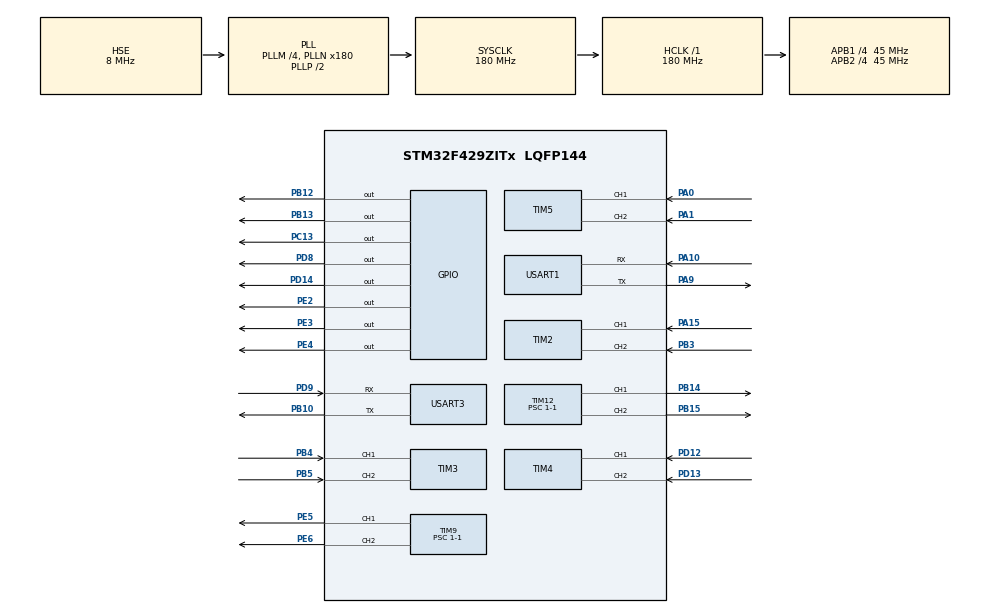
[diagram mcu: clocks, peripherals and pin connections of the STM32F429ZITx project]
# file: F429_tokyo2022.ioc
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Dma.Request0=USART3_RX
Dma.Request1=USART3_TX
Dma.USART3_RX.0.Direction=DMA_PERIPH_TO_MEMORY
Dma.USART3_RX.0.FIFOMode=DMA_FIFOMODE_DISABLE
Dma.USART3_RX.0.Instance=DMA1_Stream1
Dma.USART3_RX.0.MemDataAlignment=DMA_MDATAALIGN_BYTE
Dma.USART3_RX.0.MemInc=DMA_MINC_ENABLE
Dma.USART3_RX.0.Mode=DMA_NORMAL
Dma.USART3_RX.0.PeriphDataAlignment=DMA_PDATAALIGN_BYTE
Dma.USART3_RX.0.PeriphInc=DMA_PINC_DISABLE
Dma.USART3_RX.0.Priority=DMA_PRIORITY_HIGH
Dma.USART3_TX.1.Direction=DMA_MEMORY_TO_PERIPH
Dma.USART3_TX.1.FIFOMode=DMA_FIFOMODE_DISABLE
Dma.USART3_TX.1.Instance=DMA1_Stream3
Dma.USART3_TX.1.MemDataAlignment=DMA_MDATAALIGN_BYTE
Dma.USART3_TX.1.MemInc=DMA_MINC_ENABLE
Dma.USART3_TX.1.Mode=DMA_NORMAL
Dma.USART3_TX.1.PeriphDataAlignment=DMA_PDATAALIGN_BYTE
Dma.USART3_TX.1.PeriphInc=DMA_PINC_DISABLE
Dma.USART3_TX.1.Priority=DMA_PRIORITY_HIGH
Mcu.Family=STM32F4
Mcu.Name=STM32F429ZITx
Mcu.Package=LQFP144
NVIC.DMA1_Stream1_IRQn=true\:0\:0\:false\:false\:true\:false\:true\:true
NVIC.DMA1_Stream3_IRQn=true\:0\:0\:false\:false\:true\:false\:true\:true
NVIC.PriorityGroup=NVIC_PRIORITYGROUP_4
NVIC.TIM6_DAC_IRQn=true\:0\:0\:false\:false\:true\:true\:true\:true
NVIC.TIM7_IRQn=true\:0\:0\:false\:false\:true\:true\:true\:true
NVIC.USART3_IRQn=true\:0\:0\:false\:false\:true\:true\:true\:true
PA0/WKUP.Signal=S_TIM5_CH1
PA1.Signal=S_TIM5_CH2
PA10.Mode=Asynchronous
PA10.Signal=USART1_RX
PA13.Mode=Serial_Wire
PA13.Signal=SYS_JTMS-SWDIO
PA14.Mode=Serial_Wire
PA14.Signal=SYS_JTCK-SWCLK
PA15.Signal=S_TIM2_CH1_ETR
PA9.Mode=Asynchronous
PA9.Signal=USART1_TX
PB10.Mode=Asynchronous
PB10.Signal=USART3_TX
PB12.Signal=GPIO_Output
PB13.Signal=GPIO_Output
PB14.Signal=S_TIM12_CH1
PB15.Signal=S_TIM12_CH2
PB3.Signal=S_TIM2_CH2
PB4.Signal=S_TIM3_CH1
PB5.Signal=S_TIM3_CH2
PC13.Signal=GPIO_Output
PC14/OSC32_IN.Mode=LSE-External-Oscillator
PC14/OSC32_IN.Signal=RCC_OSC32_IN
PC15/OSC32_OUT.Mode=LSE-External-Oscillator
PC15/OSC32_OUT.Signal=RCC_OSC32_OUT
PD12.Signal=S_TIM4_CH1
PD13.Signal=S_TIM4_CH2
PD14.Signal=GPIO_Output
PD8.Signal=GPIO_Output
PD9.Mode=Asynchronous
PD9.Signal=USART3_RX
PE2.Signal=GPIO_Output
PE3.Signal=GPIO_Output
PE4.Signal=GPIO_Output
PE5.Signal=S_TIM9_CH1
PE6.Signal=S_TIM9_CH2
PH0/OSC_IN.Mode=HSE-External-Oscillator
PH0/OSC_IN.Signal=RCC_OSC_IN
PH1/OSC_OUT.Mode=HSE-External-Oscillator
PH1/OSC_OUT.Signal=RCC_OSC_OUT
ProjectManager.HeapSize=0x200
ProjectManager.StackSize=0x400
ProjectManager.TargetToolchain=STM32CubeIDE
RCC.48MHZClocksFreq_Value=90000000
RCC.AHBFreq_Value=180000000
RCC.APB1CLKDivider=RCC_HCLK_DIV4
RCC.APB1Freq_Value=45000000
RCC.APB1TimFreq_Value=90000000
RCC.APB2CLKDivider=RCC_HCLK_DIV4
RCC.APB2Freq_Value=45000000
RCC.APB2TimFreq_Value=90000000
RCC.CortexFreq_Value=180000000
RCC.EnbaleCSS=true
RCC.HCLKFreq_Value=180000000
RCC.HSE_VALUE=8000000
RCC.HSI_VALUE=16000000
RCC.PLLM=4
RCC.PLLN=180
RCC.PLLSourceVirtual=RCC_PLLSOURCE_HSE
RCC.SYSCLKFreq_VALUE=180000000
RCC.SYSCLKSource=RCC_SYSCLKSOURCE_PLLCLK
RCC.VCOOutputFreq_Value=360000000
SH.S_TIM12_CH1.0=TIM12_CH1,PWM Generation1 CH1
SH.S_TIM12_CH2.0=TIM12_CH2,PWM Generation2 CH2
SH.S_TIM2_CH1_ETR.0=TIM2_CH1,Encoder_Interface
SH.S_TIM2_CH2.0=TIM2_CH2,Encoder_Interface
SH.S_TIM3_CH1.0=TIM3_CH1,Encoder_Interface
SH.S_TIM3_CH2.0=TIM3_CH2,Encoder_Interface
SH.S_TIM4_CH1.0=TIM4_CH1,Encoder_Interface
SH.S_TIM4_CH2.0=TIM4_CH2,Encoder_Interface
SH.S_TIM5_CH1.0=TIM5_CH1,Encoder_Interface
SH.S_TIM5_CH2.0=TIM5_CH2,Encoder_Interface
SH.S_TIM9_CH1.0=TIM9_CH1,PWM Generation1 CH1
SH.S_TIM9_CH2.0=TIM9_CH2,PWM Generation2 CH2
TIM12.Channel-PWM\ Generation1\ CH1=TIM_CHANNEL_1
TIM12.Channel-PWM\ Generation2\ CH2=TIM_CHANNEL_2
TIM12.Period=4500-1
TIM12.Prescaler=1-1
TIM2.EncoderMode=TIM_ENCODERMODE_TI12
TIM3.EncoderMode=TIM_ENCODERMODE_TI12
TIM4.EncoderMode=TIM_ENCODERMODE_TI12
TIM5.EncoderMode=TIM_ENCODERMODE_TI12
TIM6.Period=10000-1
TIM6.Prescaler=90-1
TIM7.Period=1000-1
TIM7.Prescaler=90-1
TIM9.Channel-PWM\ Generation1\ CH1=TIM_CHANNEL_1
TIM9.Channel-PWM\ Generation2\ CH2=TIM_CHANNEL_2
TIM9.Period=4500-1
TIM9.Prescaler=1-1
USART1.VirtualMode=VM_ASYNC
USART3.VirtualMode=VM_ASYNC
VP_TIM12_VS_ClockSourceINT.Mode=Internal
VP_TIM6_VS_ClockSourceINT.Mode=Enable_Timer
VP_TIM7_VS_ClockSourceINT.Mode=Enable_Timer
VP_TIM9_VS_ClockSourceINT.Mode=Internal
board=custom

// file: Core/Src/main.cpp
/* USER CODE BEGIN Header */
/**
  ******************************************************************************
  * @file           : main.c
  * @brief          : Main program body
  * @project		: F429_tokyo2022
  ******************************************************************************
  * @attention
  *
  * Copyright (c) 2022 STMicroelectronics.
  * All rights reserved.
  *
  * This software is licensed under terms that can be found in the LICENSE file
  * in the root directory of this software component.
  * If no LICENSE file comes with this software, it is provided AS-IS.
  *
  ******************************************************************************
  */
/* USER CODE END Header */
#include "main.h"
#include "dma.h"
#include "tim.h"
#include "usart.h"
#include "gpio.h"

/* USER CODE BEGIN Includes */
#include <main.hpp>
#include <robot.h>
#include <rosserial.h>
/* USER CODE END Includes */

/* USER CODE BEGIN PV */
Robot robot;
Speed received_vel;
Speed odom_vel;
Pose odom_pose;
double target_wheel_w[4] = {0};
double LPF_output[4] = {0};
int32_t CNT_diff[4] = {0};
double OMEGA[4] = {0};
double duty[4] = {0};
/*for encoder test to get PID value*/
//double omega[1000];
//int x = 0;
/* USER CODE END PV */

void SystemClock_Config(void);

/* USER CODE BEGIN 0 */
void motor_PID_test(int motor){
	robot.pid[motor].setSetpoint(target_wheel_w[motor]);	//set PID target
	CNT_diff[motor] = robot.encoder_[motor].readDelta();	//read encoder counter difference
	OMEGA[motor] = robot.diff_to_omega(CNT_diff[motor]);	//from counter difference to omega
	robot.pid[motor].setFeedback(OMEGA[motor]);				//set PID feedback
	duty[motor] = robot.pid[motor].clacOutput();			//calculate duty cycle
	robot.motor_[motor].writeDuty(duty[motor]);				//write duty cycle to VNH5019
}

void robot_state_init(){
	received_vel.vx = 0;
	received_vel.vy = 0;
	received_vel.w  = 0;
	odom_vel.vx = 0;
	odom_vel.vy = 0;
	odom_vel.w	= 0;
	odom_pose.x = 0;
	odom_pose.y = 0;
	odom_pose.theta = 0;
}

void update_odom_vel(){
	odom_vel.vx = robot.kn_.robot_speed.vx_;
	odom_vel.vy = robot.kn_.robot_speed.vy_;
	odom_vel.w  = robot.kn_.robot_speed.w_;
}

void update_odom_pose(){
	double dx = robot.kn_.robot_speed.vx_ * 0.001;
	double dy = robot.kn_.robot_speed.vy_ * 0.001;
	double dw = robot.kn_.robot_speed.w_  * 0.001;

	odom_pose.x += (dx * cos(odom_pose.theta) - dy * sin(odom_pose.theta));
	odom_pose.y += (dx * sin(odom_pose.theta) + dy * cos(odom_pose.theta));
	odom_pose.theta += dw;
}
void HAL_TIM_PeriodElapsedCallback(TIM_HandleTypeDef *htim) {
	if (htim == &htim7) {	/* HIGH FREQ EVENT : 1kHz*/
		robot.kn_.inverseKinematic(received_vel.vx, received_vel.vy, received_vel.w); //from target robot speed to 4 wheel's omega
		for (int i = 0; i < 4; i++){
			target_wheel_w[i] = robot.kn_.wheel_speed_[i]; 			//get target wheel speed
//			LPF_output[i] = robot.LPF_.update(target_wheel_w[i]);	//Low Pass Filter
			robot.pid[i].setSetpoint(target_wheel_w[i]); 			//set PID target
			CNT_diff[i] = robot.encoder_[i].readDelta();			//read encoder counter difference
			OMEGA[i] = robot.diff_to_omega(CNT_diff[i]);			//from counter difference to omega
			robot.pid[i].setFeedback(OMEGA[i]);						//set PID feedback
			duty[i] = robot.pid[i].clacOutput();					//calculate duty cycle
			robot.motor_[i].writeDuty(duty[i]);						//write duty cycle to VNH
		}
		robot.kn_.forwardKinematic(OMEGA[0], OMEGA[1], OMEGA[2], OMEGA[3]);
		update_odom_vel();
//		update_odom_pose();
	}
	else if(htim == &htim6){	/* odometry publish FREQ : 100Hz*/
		odom_store();
		odom_publish();
	}
}
/* USER CODE END 0 */

int main(void)
{

  /* MCU Configuration--------------------------------------------------------*/

  /* Reset of all peripherals, Initializes the Flash interface and the Systick. */
  HAL_Init();

  /* USER CODE BEGIN Init */
  robot_state_init(); //********* can use for manual test with setting constant speed **********
  /* USER CODE END Init */

  /* Configure the system clock */
  SystemClock_Config();

  /* Initialize all configured peripherals */
  MX_GPIO_Init();
  MX_DMA_Init();
  MX_TIM12_Init();
  MX_TIM9_Init();
  MX_TIM2_Init();
  MX_TIM3_Init();
  MX_TIM4_Init();
  MX_TIM5_Init();
  MX_TIM7_Init();
  MX_USART3_UART_Init();
  MX_TIM6_Init();
  MX_USART1_UART_Init();

  /* Infinite loop */
  /* USER CODE BEGIN WHILE */
  robot.init();
  rosserial_setup();
   while (1)
  {
    /* USER CODE END WHILE */

    /* USER CODE BEGIN 3 */
	   // UART test:
//	   uint8_t num = 10;
//	   HAL_UART_Transmit(&huart1, &num, 1, 2);
  }
  /* USER CODE END 3 */
}

void SystemClock_Config(void)
{
  RCC_OscInitTypeDef RCC_OscInitStruct = {0};
  RCC_ClkInitTypeDef RCC_ClkInitStruct = {0};

  /** Configure the main internal regulator output voltage
  */
  __HAL_RCC_PWR_CLK_ENABLE();
  __HAL_PWR_VOLTAGESCALING_CONFIG(PWR_REGULATOR_VOLTAGE_SCALE1);

  /** Initializes the RCC Oscillators according to the specified parameters
  * in the RCC_OscInitTypeDef structure.
  */
  RCC_OscInitStruct.OscillatorType = RCC_OSCILLATORTYPE_HSE;
  RCC_OscInitStruct.HSEState = RCC_HSE_ON;
  RCC_OscInitStruct.PLL.PLLState = RCC_PLL_ON;
  RCC_OscInitStruct.PLL.PLLSource = RCC_PLLSOURCE_HSE;
  RCC_OscInitStruct.PLL.PLLM = 4;
  RCC_OscInitStruct.PLL.PLLN = 180;
  RCC_OscInitStruct.PLL.PLLP = RCC_PLLP_DIV2;
  RCC_OscInitStruct.PLL.PLLQ = 4;
  if (HAL_RCC_OscConfig(&RCC_OscInitStruct) != HAL_OK)
  {
    Error_Handler();
  }

  /** Activate the Over-Drive mode
  */
  if (HAL_PWREx_EnableOverDrive() != HAL_OK)
  {
    Error_Handler();
  }

  /** Initializes the CPU, AHB and APB buses clocks
  */
  RCC_ClkInitStruct.ClockType = RCC_CLOCKTYPE_HCLK|RCC_CLOCKTYPE_SYSCLK
                              |RCC_CLOCKTYPE_PCLK1|RCC_CLOCKTYPE_PCLK2;
  RCC_ClkInitStruct.SYSCLKSource = RCC_SYSCLKSOURCE_PLLCLK;
  RCC_ClkInitStruct.AHBCLKDivider = RCC_SYSCLK_DIV1;
  RCC_ClkInitStruct.APB1CLKDivider = RCC_HCLK_DIV4;
  RCC_ClkInitStruct.APB2CLKDivider = RCC_HCLK_DIV4;

  if (HAL_RCC_ClockConfig(&RCC_ClkInitStruct, FLASH_LATENCY_5) != HAL_OK)
  {
    Error_Handler();
  }

  /** Enables the Clock Security System
  */
  HAL_RCC_EnableCSS();
}

void Error_Handler(void)
{
  __disable_irq();
  while (1)
  {
  }
}
